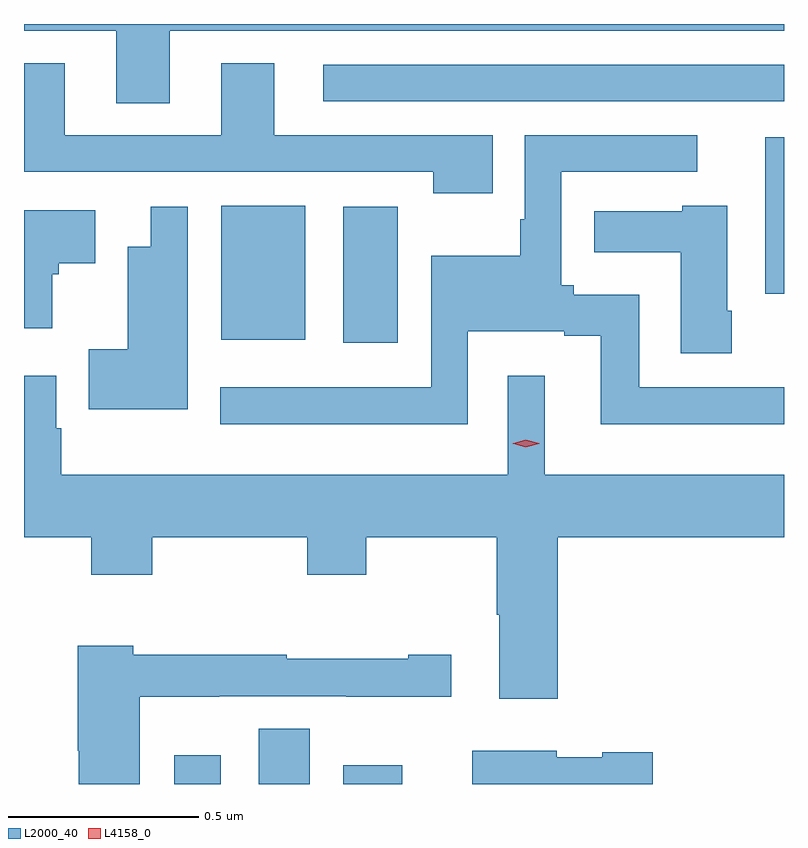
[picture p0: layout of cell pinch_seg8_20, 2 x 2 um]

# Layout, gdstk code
import gdstk
lib = gdstk.Library(unit=1e-6, precision=1e-09)
def R(c, l, rs):  # rectangles x0, y0, x1, y1
    for r in rs: c.add(gdstk.rectangle(r[:2], r[2:], *l))
def P(c, l, *ps):  # polygons
    for p in ps: c.add(gdstk.Polygon(p, *l))
L2000_40 = (2000, 40)
L4158_0 = (4158, 0)

pinch_seg8_20 = lib.new_cell('pinch_seg8_20')
R(pinch_seg8_20, L2000_40, [(1025.168,1147.818,1025.29,1147.894), (1025.39,1147.818,1025.524,1147.964), (1025.612,1147.818,1025.767,1147.867), (1025.612,1148.979,1025.755,1149.337), (1025.291,1148.987,1025.512,1149.34), (1026.722,1149.108,1026.772,1149.52), (1025.559,1149.615,1026.772,1149.711)])
P(pinch_seg8_20, L2000_40, [(1025.155,1149.8),(1026.772,1149.8),(1026.772,1149.818),(1024.772,1149.818),(1024.772,1149.8),(1025.015,1149.8),(1025.015,1149.61),(1025.155,1149.61)],
  [(1026.005,1149.525),(1025.431,1149.525),(1025.431,1149.715),(1025.291,1149.715),(1025.291,1149.525),(1024.879,1149.525),(1024.879,1149.715),(1024.772,1149.715),(1024.772,1149.429),(1025.849,1149.429),(1025.849,1149.372),(1026.005,1149.372)],
  [(1025.94,1149.009),(1026.194,1149.009),(1026.194,1148.997),(1026.29,1148.997),(1026.29,1148.765),(1026.772,1148.765),(1026.772,1148.862),(1026.391,1148.862),(1026.391,1149.105),(1026.219,1149.105),(1026.219,1149.13),(1026.186,1149.13),(1026.186,1149.429),(1026.544,1149.429),(1026.544,1149.525),(1026.09,1149.525),(1026.09,1149.304),(1026.078,1149.304),(1026.078,1149.208),(1025.844,1149.208),(1025.844,1148.862),(1025.288,1148.862),(1025.288,1148.765),(1025.94,1148.765)],
  [(1026.635,1149.064),(1026.622,1149.064),(1026.622,1149.34),(1026.504,1149.34),(1026.504,1149.325),(1026.273,1149.325),(1026.273,1149.218),(1026.5,1149.218),(1026.5,1148.952),(1026.635,1148.952)],
  [(1025.203,1149.337),(1025.105,1149.337),(1025.105,1149.232),(1025.045,1149.232),(1025.045,1148.962),(1024.942,1148.962),(1024.942,1148.804),(1025.203,1148.804)],
  [(1024.846,1149.159),(1024.864,1149.159),(1024.864,1149.188),(1024.96,1149.188),(1024.96,1149.328),(1024.772,1149.328),(1024.772,1149.018),(1024.846,1149.018)],
  [(1026.176,1148.468),(1026.772,1148.468),(1026.772,1148.632),(1026.142,1148.632),(1026.142,1148.893),(1026.045,1148.893),(1026.045,1148.632),(1024.87,1148.632),(1024.87,1148.754),(1024.857,1148.754),(1024.857,1148.893),(1024.772,1148.893),(1024.772,1148.468),(1024.949,1148.468),(1024.949,1148.369),(1025.109,1148.369),(1025.109,1148.468),(1025.518,1148.468),(1025.518,1148.369),(1025.673,1148.369),(1025.673,1148.468),(1026.016,1148.468),(1026.016,1148.264),(1026.023,1148.264),(1026.023,1148.043),(1026.176,1148.043)],
  [(1025.076,1148.048),(1025.286,1148.048),(1025.286,1148.049),(1025.62,1148.049),(1025.62,1148.048),(1025.896,1148.048),(1025.896,1148.158),(1025.783,1148.158),(1025.783,1148.148),(1025.463,1148.148),(1025.463,1148.158),(1025.06,1148.158),(1025.06,1148.182),(1024.913,1148.182),(1024.913,1147.906),(1024.916,1147.906),(1024.916,1147.818),(1025.076,1147.818)],
  [(1026.427,1147.901),(1026.294,1147.901),(1026.294,1147.888),(1026.174,1147.888),(1026.174,1147.906),(1025.951,1147.906),(1025.951,1147.818),(1026.427,1147.818)])
P(pinch_seg8_20, L4158_0, [(1026.093,1148.704),(1026.059,1148.714),(1026.058,1148.714),(1026.059,1148.715),(1026.093,1148.724),(1026.128,1148.715),(1026.128,1148.714),(1026.128,1148.714)])

lib.write_gds('pinch_seg8_20.gds')
